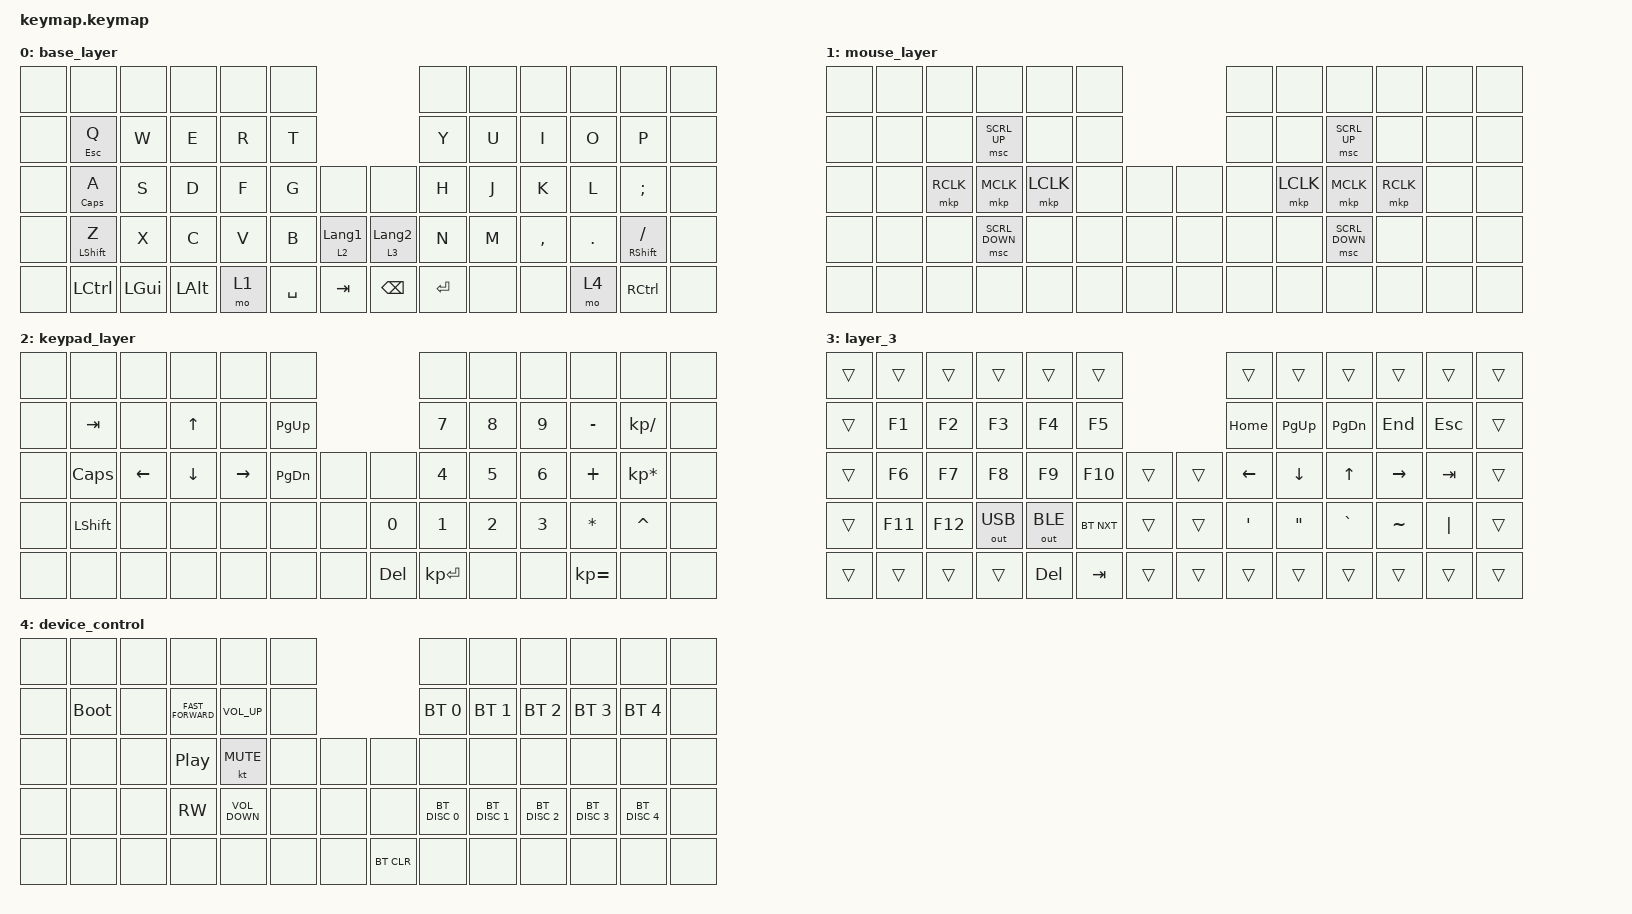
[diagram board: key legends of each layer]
#include <behaviors.dtsi>
#include <dt-bindings/zmk/bt.h>
#include <dt-bindings/zmk/keys.h>
#include <dt-bindings/zmk/outputs.h>
#include <dt-bindings/zmk/pointing.h>
#include <input/processors.dtsi>

/ {
    combos {
        compatible = "zmk,combos";

        bt_clear {
            bindings = <&bt BT_CLR>;
            key-positions = <28 29>;
            layers = <2>;
        };

        brackets {
            bindings = <&brackets>;
            key-positions = <21 22>;
        };

        quotations {
            bindings = <&quotations>;
            key-positions = <35 36>;
        };
    };

    macros {
        brackets: brackets {
            compatible = "zmk,behavior-macro";
            #binding-cells = <0>;
            bindings = <&kp LEFT_BRACKET &kp RIGHT_ARROW &kp RIGHT_BRACKET>;
            label = "BRACKETS";
        };

        quotations: quotations {
            compatible = "zmk,behavior-macro";
            #binding-cells = <0>;
            bindings = <&kp SQT &kp RIGHT_ARROW &kp SQT>;
            label = "QUOTATIONS";
        };
    };

    keymap {
        compatible = "zmk,keymap";

        layer_0 {
            bindings = <
                &none  &none           &none     &none     &none  &none                                          &none      &none  &none      &none    &none                 &none
                &none  &mt ESCAPE Q    &kp W     &kp E     &kp R  &kp T                                          &kp Y      &kp U  &kp I      &kp O    &kp P                 &none
                &none  &mt CAPSLOCK A  &kp S     &kp D     &kp F  &kp G      &none             &none             &kp H      &kp J  &kp K      &kp L    &kp SEMI              &none
                &none  &mt LSHFT Z     &kp X     &kp C     &kp V  &kp B      &lt 2 LANGUAGE_1  &lt 3 LANGUAGE_2  &kp N      &kp M  &kp COMMA  &kp DOT  &mt RIGHT_SHIFT FSLH  &none
                &none  &kp LCTRL       &kp LGUI  &kp LALT  &mo 1  &kp SPACE  &kp TAB           &kp BACKSPACE     &kp ENTER  &none  &none      &mo 4    &kp RCTRL             &none
            >;

            label = "base_layer";
        };

        layer_1 {
            bindings = <
                &none  &none  &none      &none           &none      &none                &none  &none      &none           &none      &none  &none
                &none  &none  &none      &msc SCRL_UP    &none      &none                &none  &none      &msc SCRL_UP    &none      &none  &none
                &none  &none  &mkp RCLK  &mkp MCLK       &mkp LCLK  &none  &none  &none  &none  &mkp LCLK  &mkp MCLK       &mkp RCLK  &none  &none
                &none  &none  &none      &msc SCRL_DOWN  &none      &none  &none  &none  &none  &none      &msc SCRL_DOWN  &none      &none  &none
                &none  &none  &none      &none           &none      &none  &none  &none  &none  &none      &none           &none      &none  &none
            >;

            label = "mouse_layer";
        };

        layer_2 {
            bindings = <
                &none  &none           &none           &none           &none            &none                             &none         &none   &none   &none         &none            &none
                &none  &kp TAB         &none           &kp UP_ARROW    &none            &kp PAGE_UP                       &kp N7        &kp N8  &kp N9  &kp MINUS     &kp KP_DIVIDE    &none
                &none  &kp CAPS        &kp LEFT_ARROW  &kp DOWN_ARROW  &kp RIGHT_ARROW  &kp PAGE_DOWN  &none  &none       &kp N4        &kp N5  &kp N6  &kp PLUS      &kp KP_MULTIPLY  &none
                &none  &kp LEFT_SHIFT  &none           &none           &none            &none          &none  &kp N0      &kp N1        &kp N2  &kp N3  &kp ASTERISK  &kp CARET        &none
                &none  &none           &none           &none           &none            &none          &none  &kp DELETE  &kp KP_ENTER  &none   &none   &kp KP_EQUAL  &none            &none
            >;

            label = "keypad_layer";
        };

        layer_3 {
            bindings = <
                &trans  &trans   &trans   &trans        &trans        &trans                      &trans            &trans     &trans         &trans     &trans      &trans
                &trans  &kp F1   &kp F2   &kp F3        &kp F4        &kp F5                      &kp HOME          &kp PG_UP  &kp PAGE_DOWN  &kp END    &kp ESCAPE  &trans
                &trans  &kp F6   &kp F7   &kp F8        &kp F9        &kp F10     &trans  &trans  &kp LEFT          &kp DOWN   &kp UP_ARROW   &kp RIGHT  &kp TAB     &trans
                &trans  &kp F11  &kp F12  &out OUT_USB  &out OUT_BLE  &bt BT_NXT  &trans  &trans  &kp SINGLE_QUOTE  &kp DQT    &kp GRAVE      &kp TILDE  &kp PIPE    &trans
                &trans  &trans   &trans   &trans        &kp DELETE    &kp TAB     &trans  &trans  &trans            &trans     &trans         &trans     &trans      &trans
            >;
        };

        layer_4 {
            bindings = <
                &none  &none        &none  &none               &none              &none                     &none          &none          &none          &none          &none          &none
                &none  &bootloader  &none  &kp C_FAST_FORWARD  &kp C_VOLUME_UP    &none                     &bt BT_SEL 0   &bt BT_SEL 1   &bt BT_SEL 2   &bt BT_SEL 3   &bt BT_SEL 4   &none
                &none  &none        &none  &kp C_PLAY_PAUSE    &kt C_MUTE         &none  &none  &none       &none          &none          &none          &none          &none          &none
                &none  &none        &none  &kp C_RW            &kp C_VOLUME_DOWN  &none  &none  &none       &bt BT_DISC 0  &bt BT_DISC 1  &bt BT_DISC 2  &bt BT_DISC 3  &bt BT_DISC 4  &none
                &none  &none        &none  &none               &none              &none  &none  &bt BT_CLR  &none          &none          &none          &none          &none          &none
            >;

            label = "device_control";
        };
    };
};

&mkp_input_listener {
        input-processors = <&zip_temp_layer 1 10000>;
    };
